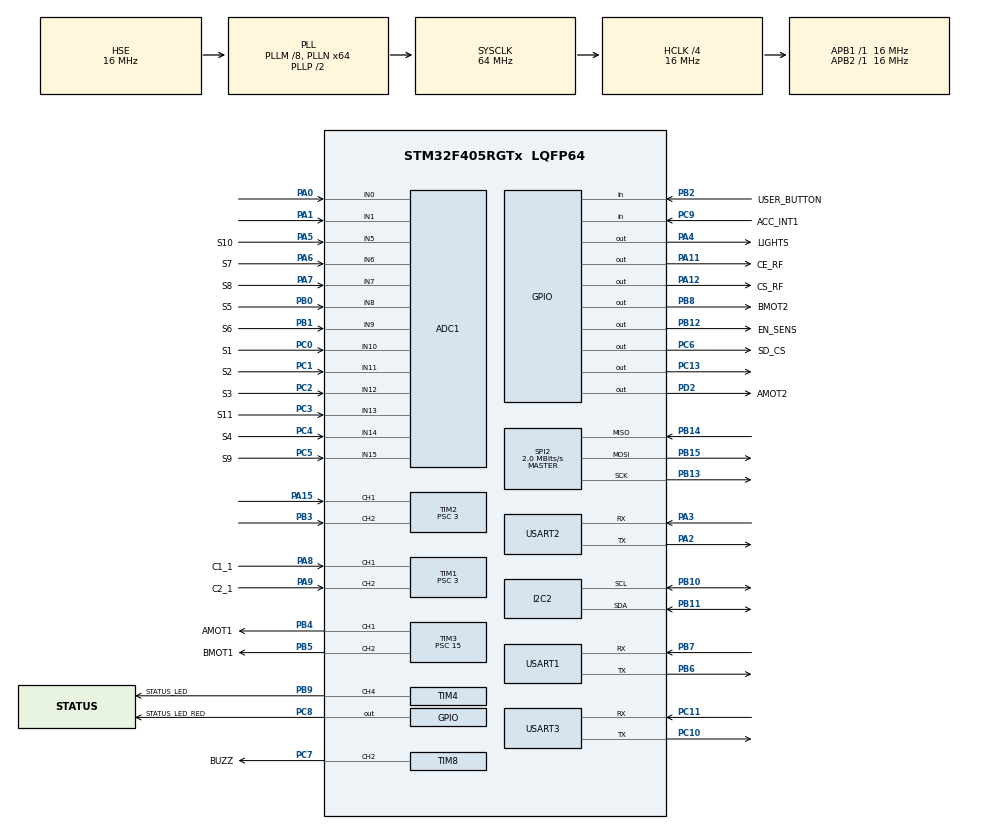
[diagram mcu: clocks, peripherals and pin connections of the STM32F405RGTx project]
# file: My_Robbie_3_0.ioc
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ADC1.Channel-1\#ChannelRegularConversion=ADC_CHANNEL_0
ADC1.Channel-18\#ChannelRegularConversion=ADC_CHANNEL_1
ADC1.Channel-19\#ChannelRegularConversion=ADC_CHANNEL_5
ADC1.Channel-20\#ChannelRegularConversion=ADC_CHANNEL_6
ADC1.Channel-21\#ChannelRegularConversion=ADC_CHANNEL_7
ADC1.Channel-22\#ChannelRegularConversion=ADC_CHANNEL_8
ADC1.Channel-23\#ChannelRegularConversion=ADC_CHANNEL_9
ADC1.Channel-24\#ChannelRegularConversion=ADC_CHANNEL_10
ADC1.Channel-25\#ChannelRegularConversion=ADC_CHANNEL_11
ADC1.Channel-26\#ChannelRegularConversion=ADC_CHANNEL_12
ADC1.Channel-27\#ChannelRegularConversion=ADC_CHANNEL_13
ADC1.Channel-28\#ChannelRegularConversion=ADC_CHANNEL_14
ADC1.Channel-29\#ChannelRegularConversion=ADC_CHANNEL_15
ADC1.ContinuousConvMode=ENABLE
ADC1.DMAContinuousRequests=DISABLE
ADC1.EnableAnalogWatchDog=false
ADC1.InjNumberOfConversion=0
ADC1.NbrOfConversion=13
ADC1.NbrOfConversionFlag=1
ADC1.Rank-1\#ChannelRegularConversion=1
ADC1.Rank-18\#ChannelRegularConversion=2
ADC1.Rank-19\#ChannelRegularConversion=3
ADC1.Rank-20\#ChannelRegularConversion=4
ADC1.Rank-21\#ChannelRegularConversion=5
ADC1.Rank-22\#ChannelRegularConversion=6
ADC1.Rank-23\#ChannelRegularConversion=7
ADC1.Rank-24\#ChannelRegularConversion=8
ADC1.Rank-25\#ChannelRegularConversion=9
ADC1.Rank-26\#ChannelRegularConversion=10
ADC1.Rank-27\#ChannelRegularConversion=11
ADC1.Rank-28\#ChannelRegularConversion=12
ADC1.Rank-29\#ChannelRegularConversion=13
ADC1.SamplingTime-1\#ChannelRegularConversion=ADC_SAMPLETIME_15CYCLES
ADC1.SamplingTime-18\#ChannelRegularConversion=ADC_SAMPLETIME_15CYCLES
ADC1.SamplingTime-19\#ChannelRegularConversion=ADC_SAMPLETIME_15CYCLES
ADC1.SamplingTime-20\#ChannelRegularConversion=ADC_SAMPLETIME_15CYCLES
ADC1.SamplingTime-21\#ChannelRegularConversion=ADC_SAMPLETIME_15CYCLES
ADC1.SamplingTime-22\#ChannelRegularConversion=ADC_SAMPLETIME_15CYCLES
ADC1.SamplingTime-23\#ChannelRegularConversion=ADC_SAMPLETIME_15CYCLES
ADC1.SamplingTime-24\#ChannelRegularConversion=ADC_SAMPLETIME_15CYCLES
ADC1.SamplingTime-25\#ChannelRegularConversion=ADC_SAMPLETIME_15CYCLES
ADC1.SamplingTime-26\#ChannelRegularConversion=ADC_SAMPLETIME_15CYCLES
ADC1.SamplingTime-27\#ChannelRegularConversion=ADC_SAMPLETIME_15CYCLES
ADC1.SamplingTime-28\#ChannelRegularConversion=ADC_SAMPLETIME_15CYCLES
ADC1.SamplingTime-29\#ChannelRegularConversion=ADC_SAMPLETIME_15CYCLES
ADC1.master=1
Dma.I2C2_RX.2.Direction=DMA_PERIPH_TO_MEMORY
Dma.I2C2_RX.2.FIFOMode=DMA_FIFOMODE_DISABLE
Dma.I2C2_RX.2.Instance=DMA1_Stream2
Dma.I2C2_RX.2.MemDataAlignment=DMA_MDATAALIGN_BYTE
Dma.I2C2_RX.2.MemInc=DMA_MINC_ENABLE
Dma.I2C2_RX.2.Mode=DMA_NORMAL
Dma.I2C2_RX.2.PeriphDataAlignment=DMA_PDATAALIGN_BYTE
Dma.I2C2_RX.2.PeriphInc=DMA_PINC_DISABLE
Dma.I2C2_RX.2.Priority=DMA_PRIORITY_LOW
Dma.Request0=USART3_RX
Dma.Request1=USART3_TX
Dma.Request2=I2C2_RX
Dma.USART3_RX.0.Direction=DMA_PERIPH_TO_MEMORY
Dma.USART3_RX.0.FIFOMode=DMA_FIFOMODE_DISABLE
Dma.USART3_RX.0.Instance=DMA1_Stream1
Dma.USART3_RX.0.MemDataAlignment=DMA_MDATAALIGN_BYTE
Dma.USART3_RX.0.MemInc=DMA_MINC_ENABLE
Dma.USART3_RX.0.Mode=DMA_CIRCULAR
Dma.USART3_RX.0.PeriphDataAlignment=DMA_PDATAALIGN_BYTE
Dma.USART3_RX.0.PeriphInc=DMA_PINC_DISABLE
Dma.USART3_RX.0.Priority=DMA_PRIORITY_LOW
Dma.USART3_TX.1.Direction=DMA_MEMORY_TO_PERIPH
Dma.USART3_TX.1.FIFOMode=DMA_FIFOMODE_DISABLE
Dma.USART3_TX.1.Instance=DMA1_Stream3
Dma.USART3_TX.1.MemDataAlignment=DMA_MDATAALIGN_BYTE
Dma.USART3_TX.1.MemInc=DMA_MINC_ENABLE
Dma.USART3_TX.1.Mode=DMA_NORMAL
Dma.USART3_TX.1.PeriphDataAlignment=DMA_PDATAALIGN_BYTE
Dma.USART3_TX.1.PeriphInc=DMA_PINC_DISABLE
Dma.USART3_TX.1.Priority=DMA_PRIORITY_LOW
I2C2.OwnAddress=8
Mcu.Family=STM32F4
Mcu.Name=STM32F405RGTx
Mcu.Package=LQFP64
NVIC.DMA1_Stream1_IRQn=true\:0\:0\:true\:false\:true\:false\:true\:true
NVIC.DMA1_Stream2_IRQn=true\:0\:0\:false\:false\:true\:false\:true\:true
NVIC.DMA1_Stream3_IRQn=true\:0\:0\:true\:false\:true\:false\:true\:true
NVIC.I2C2_ER_IRQn=true\:0\:1\:true\:false\:true\:true\:true\:true
NVIC.I2C2_EV_IRQn=true\:0\:1\:true\:false\:true\:true\:true\:true
NVIC.PriorityGroup=NVIC_PRIORITYGROUP_3
NVIC.TIM1_CC_IRQn=true\:0\:0\:false\:false\:true\:true\:true\:true
NVIC.TIM5_IRQn=true\:0\:0\:false\:false\:true\:true\:true\:true
NVIC.USART1_IRQn=true\:0\:0\:true\:false\:true\:true\:true\:true
NVIC.USART3_IRQn=true\:0\:0\:false\:false\:true\:true\:true\:true
PA0-WKUP.Signal=ADCx_IN0
PA1.Signal=ADCx_IN1
PA11.GPIO_Label=CE_RF
PA11.Signal=GPIO_Output
PA12.GPIO_Label=CS_RF
PA12.GPIO_ModeDefaultOutputPP=GPIO_MODE_OUTPUT_OD
PA12.Signal=GPIO_Output
PA13.Mode=Serial_Wire
PA13.Signal=SYS_JTMS-SWDIO
PA14.Mode=Serial_Wire
PA14.Signal=SYS_JTCK-SWCLK
PA15.Signal=S_TIM2_CH1_ETR
PA2.Mode=Asynchronous
PA2.Signal=USART2_TX
PA3.Mode=Asynchronous
PA3.Signal=USART2_RX
PA4.GPIO_Label=LIGHTS
PA4.Signal=GPIO_Output
PA5.GPIO_Label=S10
PA5.Signal=ADCx_IN5
PA6.GPIO_Label=S7
PA6.Signal=ADCx_IN6
PA7.GPIO_Label=S8
PA7.Signal=ADCx_IN7
PA8.GPIO_Label=C1_1
PA8.Signal=S_TIM1_CH1
PA9.GPIO_Label=C2_1
PA9.Signal=S_TIM1_CH2
PB0.GPIO_Label=S5
PB0.Signal=ADCx_IN8
PB1.GPIO_Label=S6
PB1.Signal=ADCx_IN9
PB10.GPIO_Pu=GPIO_NOPULL
PB10.Mode=I2C
PB10.Signal=I2C2_SCL
PB11.GPIO_Pu=GPIO_NOPULL
PB11.Mode=I2C
PB11.Signal=I2C2_SDA
PB12.GPIO_Label=EN_SENS
PB12.Signal=GPIO_Output
PB13.Mode=Full_Duplex_Master
PB13.Signal=SPI2_SCK
PB14.Mode=Full_Duplex_Master
PB14.Signal=SPI2_MISO
PB15.Mode=Full_Duplex_Master
PB15.Signal=SPI2_MOSI
PB2.GPIO_Label=USER_BUTTON
PB2.Signal=GPIO_Input
PB3.Signal=S_TIM2_CH2
PB4.GPIO_Label=AMOT1
PB4.Signal=S_TIM3_CH1
PB5.GPIO_Label=BMOT1
PB5.Signal=S_TIM3_CH2
PB6.Mode=Asynchronous
PB6.Signal=USART1_TX
PB7.Mode=Asynchronous
PB7.Signal=USART1_RX
PB8.GPIO_Label=BMOT2
PB8.Signal=GPIO_Output
PB9.GPIO_Label=STATUS_LED
PB9.Signal=S_TIM4_CH4
PC0.GPIO_Label=S1
PC0.Signal=ADCx_IN10
PC1.GPIO_Label=S2
PC1.Signal=ADCx_IN11
PC10.Mode=Asynchronous
PC10.Signal=USART3_TX
PC11.Mode=Asynchronous
PC11.Signal=USART3_RX
PC13-ANTI_TAMP.Signal=GPIO_Output
PC14-OSC32_IN.Mode=LSE-External-Oscillator
PC14-OSC32_IN.Signal=RCC_OSC32_IN
PC15-OSC32_OUT.Mode=LSE-External-Oscillator
PC15-OSC32_OUT.Signal=RCC_OSC32_OUT
PC2.GPIO_Label=S3
PC2.Signal=ADCx_IN12
PC3.GPIO_Label=S11
PC3.Signal=ADCx_IN13
PC4.GPIO_Label=S4
PC4.Signal=ADCx_IN14
PC5.GPIO_Label=S9
PC5.Signal=ADCx_IN15
PC6.GPIO_Label=SD_CS
PC6.Signal=GPIO_Output
PC7.GPIO_Label=BUZZ
PC7.Signal=S_TIM8_CH2
PC8.GPIO_Label=STATUS_LED_RED
PC8.GPIO_Speed=GPIO_SPEED_FREQ_VERY_HIGH
PC8.Signal=GPIO_Output
PC9.GPIO_Label=ACC_INT1
PC9.Signal=GPIO_Input
PD2.GPIO_Label=AMOT2
PD2.GPIO_PuPd=GPIO_NOPULL
PD2.Signal=GPIO_Output
PH0-OSC_IN.Mode=HSE-External-Oscillator
PH0-OSC_IN.Signal=RCC_OSC_IN
PH1-OSC_OUT.Mode=HSE-External-Oscillator
PH1-OSC_OUT.Signal=RCC_OSC_OUT
ProjectManager.HeapSize=0x200
ProjectManager.StackSize=0x400
ProjectManager.TargetToolchain=STM32CubeIDE
RCC.48MHZClocksFreq_Value=32000000
RCC.AHBCLKDivider=RCC_SYSCLK_DIV4
RCC.AHBFreq_Value=16000000
RCC.APB1Freq_Value=16000000
RCC.APB1TimFreq_Value=16000000
RCC.APB2Freq_Value=16000000
RCC.APB2TimFreq_Value=16000000
RCC.CortexFreq_Value=16000000
RCC.HCLKFreq_Value=16000000
RCC.HSE_VALUE=16000000
RCC.HSI_VALUE=16000000
RCC.PLLM=8
RCC.PLLN=64
RCC.PLLSourceVirtual=RCC_PLLSOURCE_HSE
RCC.SYSCLKFreq_VALUE=64000000
RCC.SYSCLKSource=RCC_SYSCLKSOURCE_PLLCLK
RCC.VCOOutputFreq_Value=128000000
SH.ADCx_IN0.0=ADC1_IN0,IN0
SH.ADCx_IN1.0=ADC1_IN1,IN1
SH.ADCx_IN10.0=ADC1_IN10,IN10
SH.ADCx_IN11.0=ADC1_IN11,IN11
SH.ADCx_IN12.0=ADC1_IN12,IN12
SH.ADCx_IN13.0=ADC1_IN13,IN13
SH.ADCx_IN14.0=ADC1_IN14,IN14
SH.ADCx_IN15.0=ADC1_IN15,IN15
SH.ADCx_IN5.0=ADC1_IN5,IN5
SH.ADCx_IN6.0=ADC1_IN6,IN6
SH.ADCx_IN7.0=ADC1_IN7,IN7
SH.ADCx_IN8.0=ADC1_IN8,IN8
SH.ADCx_IN9.0=ADC1_IN9,IN9
SH.S_TIM1_CH1.0=TIM1_CH1,Encoder_Interface
SH.S_TIM1_CH2.0=TIM1_CH2,Encoder_Interface
SH.S_TIM2_CH1_ETR.0=TIM2_CH1,Encoder_Interface
SH.S_TIM2_CH2.0=TIM2_CH2,Encoder_Interface
SH.S_TIM3_CH1.0=TIM3_CH1,PWM Generation1 CH1
SH.S_TIM3_CH2.0=TIM3_CH2,PWM Generation2 CH2
SH.S_TIM4_CH4.0=TIM4_CH4,PWM Generation4 CH4
SH.S_TIM8_CH2.0=TIM8_CH2,PWM Generation2 CH2
SPI2.BaudRatePrescaler=SPI_BAUDRATEPRESCALER_8
SPI2.CalculateBaudRate=2.0 MBits/s
SPI2.Direction=SPI_DIRECTION_2LINES
SPI2.Mode=SPI_MODE_MASTER
SPI2.VirtualType=VM_MASTER
TIM1.EncoderMode=TIM_ENCODERMODE_TI12
TIM1.Prescaler=3
TIM2.EncoderMode=TIM_ENCODERMODE_TI12
TIM2.Period=65535
TIM2.Prescaler=3
TIM3.Channel-PWM\ Generation1\ CH1=TIM_CHANNEL_1
TIM3.Channel-PWM\ Generation2\ CH2=TIM_CHANNEL_2
TIM3.Period=999
TIM3.Prescaler=15
TIM4.Channel-PWM\ Generation4\ CH4=TIM_CHANNEL_4
TIM5.Period=999
TIM5.Prescaler=1599
TIM8.Channel-PWM\ Generation2\ CH2=TIM_CHANNEL_2
TIM8.Period=5333
USART1.VirtualMode=VM_ASYNC
USART2.VirtualMode=VM_ASYNC
USART3.VirtualMode=VM_ASYNC
VP_FATFS_VS_Generic.Mode=User_defined
VP_RTC_VS_RTC_Activate.Mode=RTC_Enabled
VP_TIM3_VS_ClockSourceINT.Mode=Internal
VP_TIM5_VS_ClockSourceINT.Mode=Internal
board=custom

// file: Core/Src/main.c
/* USER CODE BEGIN Header */
/**
  ******************************************************************************
  * @file           : main.c
  * @brief          : Main program body
  ******************************************************************************
  * @attention
  *
  * Copyright (c) 2023 STMicroelectronics.
  * All rights reserved.
  *
  * This software is licensed under terms that can be found in the LICENSE file
  * in the root directory of this software component.
  * If no LICENSE file comes with this software, it is provided AS-IS.
  *
  ******************************************************************************
  */
/* USER CODE END Header */
#include "main.h"
#include "fatfs.h"

/* USER CODE BEGIN PD */
#define PROMT "\r\n"
/* USER CODE END PD */

ADC_HandleTypeDef hadc1;

I2C_HandleTypeDef hi2c2;
DMA_HandleTypeDef hdma_i2c2_rx;

RTC_HandleTypeDef hrtc;

SPI_HandleTypeDef hspi2;

TIM_HandleTypeDef htim1;
TIM_HandleTypeDef htim2;
TIM_HandleTypeDef htim3;
TIM_HandleTypeDef htim4;
TIM_HandleTypeDef htim5;
TIM_HandleTypeDef htim8;

UART_HandleTypeDef huart1;
UART_HandleTypeDef huart2;
UART_HandleTypeDef huart3;
DMA_HandleTypeDef hdma_usart3_rx;
DMA_HandleTypeDef hdma_usart3_tx;

/* USER CODE BEGIN PV */

// buffer para la obtencion de datos por UART
char MSG_Rx[30];
char MSG_Tx[200];

char MSG_Rx_1[30];
char MSG_Tx_1[32];

char received_message_uart[30];

uint8_t received_caracter_uart;
uint8_t flag_uart = 0;
uint8_t counter_caracter = 0;

// variable principal para la velocidad objetivo de las ruedas
float setP_1 = 0.000;
float setP_2 = 0.000;

// variable para la intrpretacion de la velocidad de las ruedas
char letra_1;
int numero_1;
char letra_2;
int numero_2;
char letra_3;
int numero_3;

char P_letra_1 =' ';
float P_numero_1;
char P_letra_2 =' ';
float P_numero_2;

// variable de prueba de velocidad (no relevante)
uint8_t step = 0;

/* USER CODE END PV */

void SystemClock_Config(void);
static void MX_GPIO_Init(void);
static void MX_DMA_Init(void);
static void MX_RTC_Init(void);
static void MX_USART2_UART_Init(void);
static void MX_ADC1_Init(void);
static void MX_TIM1_Init(void);
static void MX_TIM2_Init(void);
static void MX_USART1_UART_Init(void);
static void MX_USART3_UART_Init(void);
static void MX_SPI2_Init(void);
static void MX_TIM3_Init(void);
static void MX_I2C2_Init(void);
static void MX_TIM8_Init(void);
static void MX_TIM4_Init(void);
static void MX_TIM5_Init(void);

int main(void)
{

  /* MCU Configuration--------------------------------------------------------*/

  /* Reset of all peripherals, Initializes the Flash interface and the Systick. */
  HAL_Init();

  /* Configure the system clock */
  SystemClock_Config();

  /* Initialize all configured peripherals */
  MX_GPIO_Init();
  MX_DMA_Init();
  MX_RTC_Init();
  MX_USART2_UART_Init();
  MX_ADC1_Init();
  MX_TIM1_Init();
  MX_TIM2_Init();
  MX_USART1_UART_Init();
  MX_USART3_UART_Init();
  MX_SPI2_Init();
  MX_TIM3_Init();
  MX_FATFS_Init();
  MX_I2C2_Init();
  MX_TIM8_Init();
  MX_TIM4_Init();
  MX_TIM5_Init();

  /* Infinite loop */
  /* USER CODE BEGIN WHILE */

  //tiempo para que la rueda no swicheada a tierra pare
  HAL_Delay(6000);

//  HAL_GPIO_WritePin(STATUS_LED_RED_GPIO_Port, STATUS_LED_RED_Pin, GPIO_PIN_SET);

  // motor de izquierda
  HAL_GPIO_WritePin(AMOT2_GPIO_Port, AMOT2_Pin, GPIO_PIN_RESET);
  // motor de derecha
  HAL_GPIO_WritePin(BMOT2_GPIO_Port, BMOT2_Pin, GPIO_PIN_RESET);

  HAL_TIM_PWM_Start(&htim3,TIM_CHANNEL_1);
  HAL_TIM_PWM_Start(&htim3,TIM_CHANNEL_2);

  // encoders
  HAL_TIM_Encoder_Start(&htim1, TIM_CHANNEL_ALL);
  HAL_TIM_Encoder_Start(&htim2, TIM_CHANNEL_ALL);

  cnt1_1 = __HAL_TIM_GET_COUNTER(&htim1);
  cnt2_1 = __HAL_TIM_GET_COUNTER(&htim2);

  // tiempo base de 10 Hz
  HAL_TIM_Base_Start_IT(&htim5);

  // comunicacion por UART
//  printWelcomeMessage(&huart3);
  HAL_UART_Receive_DMA(&huart3, (uint8_t*)&MSG_Rx,14);

  HAL_UART_Receive_IT(&huart1,&received_caracter_uart, 1);

  // comunicacion por i2c
  HAL_I2C_Slave_Receive_DMA(&hi2c2,&received_length_i2c, 1);

  memset(MSG_Tx_1, 0, sizeof(MSG_Tx_1));
  while (1)
  {

    /* USER CODE END WHILE */

  }
}

void SystemClock_Config(void)
{
  RCC_OscInitTypeDef RCC_OscInitStruct = {0};
  RCC_ClkInitTypeDef RCC_ClkInitStruct = {0};

  /** Configure the main internal regulator output voltage
  */
  __HAL_RCC_PWR_CLK_ENABLE();
  __HAL_PWR_VOLTAGESCALING_CONFIG(PWR_REGULATOR_VOLTAGE_SCALE1);

  /** Initializes the RCC Oscillators according to the specified parameters
  * in the RCC_OscInitTypeDef structure.
  */
  RCC_OscInitStruct.OscillatorType = RCC_OSCILLATORTYPE_LSI|RCC_OSCILLATORTYPE_HSE;
  RCC_OscInitStruct.HSEState = RCC_HSE_ON;
  RCC_OscInitStruct.LSIState = RCC_LSI_ON;
  RCC_OscInitStruct.PLL.PLLState = RCC_PLL_ON;
  RCC_OscInitStruct.PLL.PLLSource = RCC_PLLSOURCE_HSE;
  RCC_OscInitStruct.PLL.PLLM = 8;
  RCC_OscInitStruct.PLL.PLLN = 64;
  RCC_OscInitStruct.PLL.PLLP = RCC_PLLP_DIV2;
  RCC_OscInitStruct.PLL.PLLQ = 4;
  if (HAL_RCC_OscConfig(&RCC_OscInitStruct) != HAL_OK)
  {
    Error_Handler();
  }

  /** Initializes the CPU, AHB and APB buses clocks
  */
  RCC_ClkInitStruct.ClockType = RCC_CLOCKTYPE_HCLK|RCC_CLOCKTYPE_SYSCLK
                              |RCC_CLOCKTYPE_PCLK1|RCC_CLOCKTYPE_PCLK2;
  RCC_ClkInitStruct.SYSCLKSource = RCC_SYSCLKSOURCE_PLLCLK;
  RCC_ClkInitStruct.AHBCLKDivider = RCC_SYSCLK_DIV4;
  RCC_ClkInitStruct.APB1CLKDivider = RCC_HCLK_DIV1;
  RCC_ClkInitStruct.APB2CLKDivider = RCC_HCLK_DIV1;

  if (HAL_RCC_ClockConfig(&RCC_ClkInitStruct, FLASH_LATENCY_0) != HAL_OK)
  {
    Error_Handler();
  }
}

static void MX_ADC1_Init(void)
{

  ADC_ChannelConfTypeDef sConfig = {0};

  /** Configure the global features of the ADC (Clock, Resolution, Data Alignment and number of conversion)
  */
  hadc1.Instance = ADC1;
  hadc1.Init.ClockPrescaler = ADC_CLOCK_SYNC_PCLK_DIV2;
  hadc1.Init.Resolution = ADC_RESOLUTION_12B;
  hadc1.Init.ScanConvMode = ENABLE;
  hadc1.Init.ContinuousConvMode = ENABLE;
  hadc1.Init.DiscontinuousConvMode = DISABLE;
  hadc1.Init.ExternalTrigConvEdge = ADC_EXTERNALTRIGCONVEDGE_NONE;
  hadc1.Init.ExternalTrigConv = ADC_SOFTWARE_START;
  hadc1.Init.DataAlign = ADC_DATAALIGN_RIGHT;
  hadc1.Init.NbrOfConversion = 13;
  hadc1.Init.DMAContinuousRequests = DISABLE;
  hadc1.Init.EOCSelection = ADC_EOC_SINGLE_CONV;
  if (HAL_ADC_Init(&hadc1) != HAL_OK)
  {
    Error_Handler();
  }

  /** Configure for the selected ADC regular channel its corresponding rank in the sequencer and its sample time.
  */
  sConfig.Channel = ADC_CHANNEL_0;
  sConfig.Rank = 1;
  sConfig.SamplingTime = ADC_SAMPLETIME_15CYCLES;
  if (HAL_ADC_ConfigChannel(&hadc1, &sConfig) != HAL_OK)
  {
    Error_Handler();
  }

  /** Configure for the selected ADC regular channel its corresponding rank in the sequencer and its sample time.
  */
  sConfig.Channel = ADC_CHANNEL_1;
  sConfig.Rank = 2;
  if (HAL_ADC_ConfigChannel(&hadc1, &sConfig) != HAL_OK)
  {
    Error_Handler();
  }

  /** Configure for the selected ADC regular channel its corresponding rank in the sequencer and its sample time.
  */
  sConfig.Channel = ADC_CHANNEL_5;
  sConfig.Rank = 3;
  if (HAL_ADC_ConfigChannel(&hadc1, &sConfig) != HAL_OK)
  {
    Error_Handler();
  }

  /** Configure for the selected ADC regular channel its corresponding rank in the sequencer and its sample time.
  */
  sConfig.Channel = ADC_CHANNEL_6;
  sConfig.Rank = 4;
  if (HAL_ADC_ConfigChannel(&hadc1, &sConfig) != HAL_OK)
  {
    Error_Handler();
  }

  /** Configure for the selected ADC regular channel its corresponding rank in the sequencer and its sample time.
  */
  sConfig.Channel = ADC_CHANNEL_7;
  sConfig.Rank = 5;
  if (HAL_ADC_ConfigChannel(&hadc1, &sConfig) != HAL_OK)
  {
    Error_Handler();
  }

  /** Configure for the selected ADC regular channel its corresponding rank in the sequencer and its sample time.
  */
  sConfig.Channel = ADC_CHANNEL_8;
  sConfig.Rank = 6;
  if (HAL_ADC_ConfigChannel(&hadc1, &sConfig) != HAL_OK)
  {
    Error_Handler();
  }

  /** Configure for the selected ADC regular channel its corresponding rank in the sequencer and its sample time.
  */
  sConfig.Channel = ADC_CHANNEL_9;
  sConfig.Rank = 7;
  if (HAL_ADC_ConfigChannel(&hadc1, &sConfig) != HAL_OK)
  {
    Error_Handler();
  }

  /** Configure for the selected ADC regular channel its corresponding rank in the sequencer and its sample time.
  */
  sConfig.Channel = ADC_CHANNEL_10;
  sConfig.Rank = 8;
  if (HAL_ADC_ConfigChannel(&hadc1, &sConfig) != HAL_OK)
  {
    Error_Handler();
  }

  /** Configure for the selected ADC regular channel its corresponding rank in the sequencer and its sample time.
  */
  sConfig.Channel = ADC_CHANNEL_11;
  sConfig.Rank = 9;
  if (HAL_ADC_ConfigChannel(&hadc1, &sConfig) != HAL_OK)
  {
    Error_Handler();
  }

  /** Configure for the selected ADC regular channel its corresponding rank in the sequencer and its sample time.
  */
  sConfig.Channel = ADC_CHANNEL_12;
  sConfig.Rank = 10;
  if (HAL_ADC_ConfigChannel(&hadc1, &sConfig) != HAL_OK)
  {
    Error_Handler();
  }

  /** Configure for the selected ADC regular channel its corresponding rank in the sequencer and its sample time.
  */
  sConfig.Channel = ADC_CHANNEL_13;
  sConfig.Rank = 11;
  if (HAL_ADC_ConfigChannel(&hadc1, &sConfig) != HAL_OK)
  {
    Error_Handler();
  }

  /** Configure for the selected ADC regular channel its corresponding rank in the sequencer and its sample time.
  */
  sConfig.Channel = ADC_CHANNEL_14;
  sConfig.Rank = 12;
  if (HAL_ADC_ConfigChannel(&hadc1, &sConfig) != HAL_OK)
  {
    Error_Handler();
  }

  /** Configure for the selected ADC regular channel its corresponding rank in the sequencer and its sample time.
  */
  sConfig.Channel = ADC_CHANNEL_15;
  sConfig.Rank = 13;
  if (HAL_ADC_ConfigChannel(&hadc1, &sConfig) != HAL_OK)
  {
    Error_Handler();
  }

}

static void MX_I2C2_Init(void)
{

  hi2c2.Instance = I2C2;
  hi2c2.Init.ClockSpeed = 100000;
  hi2c2.Init.DutyCycle = I2C_DUTYCYCLE_2;
  hi2c2.Init.OwnAddress1 = 16;
  hi2c2.Init.AddressingMode = I2C_ADDRESSINGMODE_7BIT;
  hi2c2.Init.DualAddressMode = I2C_DUALADDRESS_DISABLE;
  hi2c2.Init.OwnAddress2 = 0;
  hi2c2.Init.GeneralCallMode = I2C_GENERALCALL_DISABLE;
  hi2c2.Init.NoStretchMode = I2C_NOSTRETCH_DISABLE;
  if (HAL_I2C_Init(&hi2c2) != HAL_OK)
  {
    Error_Handler();
  }

}

static void MX_RTC_Init(void)
{

  /** Initialize RTC Only
  */
  hrtc.Instance = RTC;
  hrtc.Init.HourFormat = RTC_HOURFORMAT_24;
  hrtc.Init.AsynchPrediv = 127;
  hrtc.Init.SynchPrediv = 255;
  hrtc.Init.OutPut = RTC_OUTPUT_DISABLE;
  hrtc.Init.OutPutPolarity = RTC_OUTPUT_POLARITY_HIGH;
  hrtc.Init.OutPutType = RTC_OUTPUT_TYPE_OPENDRAIN;
  if (HAL_RTC_Init(&hrtc) != HAL_OK)
  {
    Error_Handler();
  }

}

static void MX_SPI2_Init(void)
{

  /* SPI2 parameter configuration*/
  hspi2.Instance = SPI2;
  hspi2.Init.Mode = SPI_MODE_MASTER;
  hspi2.Init.Direction = SPI_DIRECTION_2LINES;
  hspi2.Init.DataSize = SPI_DATASIZE_8BIT;
  hspi2.Init.CLKPolarity = SPI_POLARITY_LOW;
  hspi2.Init.CLKPhase = SPI_PHASE_1EDGE;
  hspi2.Init.NSS = SPI_NSS_SOFT;
  hspi2.Init.BaudRatePrescaler = SPI_BAUDRATEPRESCALER_8;
  hspi2.Init.FirstBit = SPI_FIRSTBIT_MSB;
  hspi2.Init.TIMode = SPI_TIMODE_DISABLE;
  hspi2.Init.CRCCalculation = SPI_CRCCALCULATION_DISABLE;
  hspi2.Init.CRCPolynomial = 10;
  if (HAL_SPI_Init(&hspi2) != HAL_OK)
  {
    Error_Handler();
  }

}

static void MX_TIM1_Init(void)
{

  TIM_Encoder_InitTypeDef sConfig = {0};
  TIM_MasterConfigTypeDef sMasterConfig = {0};

  htim1.Instance = TIM1;
  htim1.Init.Prescaler = 3;
  htim1.Init.CounterMode = TIM_COUNTERMODE_UP;
  htim1.Init.Period = 65535;
  htim1.Init.ClockDivision = TIM_CLOCKDIVISION_DIV1;
  htim1.Init.RepetitionCounter = 0;
  htim1.Init.AutoReloadPreload = TIM_AUTORELOAD_PRELOAD_DISABLE;
  sConfig.EncoderMode = TIM_ENCODERMODE_TI12;
  sConfig.IC1Polarity = TIM_ICPOLARITY_RISING;
  sConfig.IC1Selection = TIM_ICSELECTION_DIRECTTI;
  sConfig.IC1Prescaler = TIM_ICPSC_DIV1;
  sConfig.IC1Filter = 0;
  sConfig.IC2Polarity = TIM_ICPOLARITY_RISING;
  sConfig.IC2Selection = TIM_ICSELECTION_DIRECTTI;
  sConfig.IC2Prescaler = TIM_ICPSC_DIV1;
  sConfig.IC2Filter = 0;
  if (HAL_TIM_Encoder_Init(&htim1, &sConfig) != HAL_OK)
  {
    Error_Handler();
  }
  sMasterConfig.MasterOutputTrigger = TIM_TRGO_RESET;
  sMasterConfig.MasterSlaveMode = TIM_MASTERSLAVEMODE_DISABLE;
  if (HAL_TIMEx_MasterConfigSynchronization(&htim1, &sMasterConfig) != HAL_OK)
  {
    Error_Handler();
  }

}

static void MX_TIM2_Init(void)
{

  TIM_Encoder_InitTypeDef sConfig = {0};
  TIM_MasterConfigTypeDef sMasterConfig = {0};

  htim2.Instance = TIM2;
  htim2.Init.Prescaler = 3;
  htim2.Init.CounterMode = TIM_COUNTERMODE_UP;
  htim2.Init.Period = 65535;
  htim2.Init.ClockDivision = TIM_CLOCKDIVISION_DIV1;
  htim2.Init.AutoReloadPreload = TIM_AUTORELOAD_PRELOAD_DISABLE;
  sConfig.EncoderMode = TIM_ENCODERMODE_TI12;
  sConfig.IC1Polarity = TIM_ICPOLARITY_RISING;
  sConfig.IC1Selection = TIM_ICSELECTION_DIRECTTI;
  sConfig.IC1Prescaler = TIM_ICPSC_DIV1;
  sConfig.IC1Filter = 0;
  sConfig.IC2Polarity = TIM_ICPOLARITY_RISING;
  sConfig.IC2Selection = TIM_ICSELECTION_DIRECTTI;
  sConfig.IC2Prescaler = TIM_ICPSC_DIV1;
  sConfig.IC2Filter = 0;
  if (HAL_TIM_Encoder_Init(&htim2, &sConfig) != HAL_OK)
  {
    Error_Handler();
  }
  sMasterConfig.MasterOutputTrigger = TIM_TRGO_RESET;
  sMasterConfig.MasterSlaveMode = TIM_MASTERSLAVEMODE_DISABLE;
  if (HAL_TIMEx_MasterConfigSynchronization(&htim2, &sMasterConfig) != HAL_OK)
  {
    Error_Handler();
  }

}

static void MX_TIM3_Init(void)
{

  TIM_ClockConfigTypeDef sClockSourceConfig = {0};
  TIM_MasterConfigTypeDef sMasterConfig = {0};
  TIM_OC_InitTypeDef sConfigOC = {0};

  htim3.Instance = TIM3;
  htim3.Init.Prescaler = 15;
  htim3.Init.CounterMode = TIM_COUNTERMODE_UP;
  htim3.Init.Period = 999;
  htim3.Init.ClockDivision = TIM_CLOCKDIVISION_DIV1;
  htim3.Init.AutoReloadPreload = TIM_AUTORELOAD_PRELOAD_DISABLE;
  if (HAL_TIM_Base_Init(&htim3) != HAL_OK)
  {
    Error_Handler();
  }
  sClockSourceConfig.ClockSource = TIM_CLOCKSOURCE_INTERNAL;
  if (HAL_TIM_ConfigClockSource(&htim3, &sClockSourceConfig) != HAL_OK)
  {
    Error_Handler();
  }
  if (HAL_TIM_PWM_Init(&htim3) != HAL_OK)
  {
    Error_Handler();
  }
  sMasterConfig.MasterOutputTrigger = TIM_TRGO_RESET;
  sMasterConfig.MasterSlaveMode = TIM_MASTERSLAVEMODE_DISABLE;
  if (HAL_TIMEx_MasterConfigSynchronization(&htim3, &sMasterConfig) != HAL_OK)
  {
    Error_Handler();
  }
  sConfigOC.OCMode = TIM_OCMODE_PWM1;
  sConfigOC.Pulse = 0;
  sConfigOC.OCPolarity = TIM_OCPOLARITY_HIGH;
  sConfigOC.OCFastMode = TIM_OCFAST_DISABLE;
  if (HAL_TIM_PWM_ConfigChannel(&htim3, &sConfigOC, TIM_CHANNEL_1) != HAL_OK)
  {
    Error_Handler();
  }
  if (HAL_TIM_PWM_ConfigChannel(&htim3, &sConfigOC, TIM_CHANNEL_2) != HAL_OK)
  {
    Error_Handler();
  }
  HAL_TIM_MspPostInit(&htim3);

}

static void MX_TIM4_Init(void)
{

  TIM_MasterConfigTypeDef sMasterConfig = {0};
  TIM_OC_InitTypeDef sConfigOC = {0};

  htim4.Instance = TIM4;
  htim4.Init.Prescaler = 0;
  htim4.Init.CounterMode = TIM_COUNTERMODE_UP;
  htim4.Init.Period = 65535;
  htim4.Init.ClockDivision = TIM_CLOCKDIVISION_DIV1;
  htim4.Init.AutoReloadPreload = TIM_AUTORELOAD_PRELOAD_DISABLE;
  if (HAL_TIM_PWM_Init(&htim4) != HAL_OK)
  {
    Error_Handler();
  }
  sMasterConfig.MasterOutputTrigger = TIM_TRGO_RESET;
  sMasterConfig.MasterSlaveMode = TIM_MASTERSLAVEMODE_DISABLE;
  if (HAL_TIMEx_MasterConfigSynchronization(&htim4, &sMasterConfig) != HAL_OK)
  {
    Error_Handler();
  }
  sConfigOC.OCMode = TIM_OCMODE_PWM1;
  sConfigOC.Pulse = 0;
  sConfigOC.OCPolarity = TIM_OCPOLARITY_HIGH;
  sConfigOC.OCFastMode = TIM_OCFAST_DISABLE;
  if (HAL_TIM_PWM_ConfigChannel(&htim4, &sConfigOC, TIM_CHANNEL_4) != HAL_OK)
  {
    Error_Handler();
  }
  HAL_TIM_MspPostInit(&htim4);

}

static void MX_TIM5_Init(void)
{

  TIM_ClockConfigTypeDef sClockSourceConfig = {0};
  TIM_MasterConfigTypeDef sMasterConfig = {0};

  htim5.Instance = TIM5;
  htim5.Init.Prescaler = 1599;
  htim5.Init.CounterMode = TIM_COUNTERMODE_UP;
  htim5.Init.Period = 999;
  htim5.Init.ClockDivision = TIM_CLOCKDIVISION_DIV1;
  htim5.Init.AutoReloadPreload = TIM_AUTORELOAD_PRELOAD_DISABLE;
  if (HAL_TIM_Base_Init(&htim5) != HAL_OK)
  {
    Error_Handler();
  }
  sClockSourceConfig.ClockSource = TIM_CLOCKSOURCE_INTERNAL;
  if (HAL_TIM_ConfigClockSource(&htim5, &sClockSourceConfig) != HAL_OK)
  {
    Error_Handler();
  }
  sMasterConfig.MasterOutputTrigger = TIM_TRGO_RESET;
  sMasterConfig.MasterSlaveMode = TIM_MASTERSLAVEMODE_DISABLE;
  if (HAL_TIMEx_MasterConfigSynchronization(&htim5, &sMasterConfig) != HAL_OK)
  {
    Error_Handler();
  }

}

static void MX_TIM8_Init(void)
{

  TIM_MasterConfigTypeDef sMasterConfig = {0};
  TIM_OC_InitTypeDef sConfigOC = {0};
  TIM_BreakDeadTimeConfigTypeDef sBreakDeadTimeConfig = {0};

  htim8.Instance = TIM8;
  htim8.Init.Prescaler = 0;
  htim8.Init.CounterMode = TIM_COUNTERMODE_UP;
  htim8.Init.Period = 5333;
  htim8.Init.ClockDivision = TIM_CLOCKDIVISION_DIV1;
  htim8.Init.RepetitionCounter = 0;
  htim8.Init.AutoReloadPreload = TIM_AUTORELOAD_PRELOAD_DISABLE;
  if (HAL_TIM_PWM_Init(&htim8) != HAL_OK)
  {
    Error_Handler();
  }
  sMasterConfig.MasterOutputTrigger = TIM_TRGO_RESET;
  sMasterConfig.MasterSlaveMode = TIM_MASTERSLAVEMODE_DISABLE;
  if (HAL_TIMEx_MasterConfigSynchronization(&htim8, &sMasterConfig) != HAL_OK)
  {
    Error_Handler();
  }
  sConfigOC.OCMode = TIM_OCMODE_PWM1;
  sConfigOC.Pulse = 0;
  sConfigOC.OCPolarity = TIM_OCPOLARITY_HIGH;
  sConfigOC.OCNPolarity = TIM_OCNPOLARITY_HIGH;
  sConfigOC.OCFastMode = TIM_OCFAST_DISABLE;
  sConfigOC.OCIdleState = TIM_OCIDLESTATE_RESET;
  sConfigOC.OCNIdleState = TIM_OCNIDLESTATE_RESET;
  if (HAL_TIM_PWM_ConfigChannel(&htim8, &sConfigOC, TIM_CHANNEL_2) != HAL_OK)
  {
    Error_Handler();
  }
  sBreakDeadTimeConfig.OffStateRunMode = TIM_OSSR_DISABLE;
  sBreakDeadTimeConfig.OffStateIDLEMode = TIM_OSSI_DISABLE;
  sBreakDeadTimeConfig.LockLevel = TIM_LOCKLEVEL_OFF;
  sBreakDeadTimeConfig.DeadTime = 0;
  sBreakDeadTimeConfig.BreakState = TIM_BREAK_DISABLE;
  sBreakDeadTimeConfig.BreakPolarity = TIM_BREAKPOLARITY_HIGH;
  sBreakDeadTimeConfig.AutomaticOutput = TIM_AUTOMATICOUTPUT_DISABLE;
  if (HAL_TIMEx_ConfigBreakDeadTime(&htim8, &sBreakDeadTimeConfig) != HAL_OK)
  {
    Error_Handler();
  }
  HAL_TIM_MspPostInit(&htim8);

}

static void MX_USART1_UART_Init(void)
{

  huart1.Instance = USART1;
  huart1.Init.BaudRate = 115200;
  huart1.Init.WordLength = UART_WORDLENGTH_8B;
  huart1.Init.StopBits = UART_STOPBITS_1;
  huart1.Init.Parity = UART_PARITY_NONE;
  huart1.Init.Mode = UART_MODE_TX_RX;
  huart1.Init.HwFlowCtl = UART_HWCONTROL_NONE;
  huart1.Init.OverSampling = UART_OVERSAMPLING_16;
  if (HAL_UART_Init(&huart1) != HAL_OK)
  {
    Error_Handler();
  }

}

static void MX_USART2_UART_Init(void)
{

  huart2.Instance = USART2;
  huart2.Init.BaudRate = 115200;
  huart2.Init.WordLength = UART_WORDLENGTH_8B;
  huart2.Init.StopBits = UART_STOPBITS_1;
  huart2.Init.Parity = UART_PARITY_NONE;
  huart2.Init.Mode = UART_MODE_TX_RX;
  huart2.Init.HwFlowCtl = UART_HWCONTROL_NONE;
  huart2.Init.OverSampling = UART_OVERSAMPLING_16;
  if (HAL_UART_Init(&huart2) != HAL_OK)
  {
    Error_Handler();
  }

}

static void MX_USART3_UART_Init(void)
{

  huart3.Instance = USART3;
  huart3.Init.BaudRate = 115200;
  huart3.Init.WordLength = UART_WORDLENGTH_8B;
  huart3.Init.StopBits = UART_STOPBITS_1;
  huart3.Init.Parity = UART_PARITY_NONE;
  huart3.Init.Mode = UART_MODE_TX_RX;
  huart3.Init.HwFlowCtl = UART_HWCONTROL_NONE;
  huart3.Init.OverSampling = UART_OVERSAMPLING_16;
  if (HAL_UART_Init(&huart3) != HAL_OK)
  {
    Error_Handler();
  }

}

static void MX_DMA_Init(void)
{

  /* DMA controller clock enable */
  __HAL_RCC_DMA1_CLK_ENABLE();

  /* DMA interrupt init */
  /* DMA1_Stream1_IRQn interrupt configuration */
  HAL_NVIC_SetPriority(DMA1_Stream1_IRQn, 0, 0);
  HAL_NVIC_EnableIRQ(DMA1_Stream1_IRQn);
  /* DMA1_Stream2_IRQn interrupt configuration */
  HAL_NVIC_SetPriority(DMA1_Stream2_IRQn, 0, 0);
  HAL_NVIC_EnableIRQ(DMA1_Stream2_IRQn);
  /* DMA1_Stream3_IRQn interrupt configuration */
  HAL_NVIC_SetPriority(DMA1_Stream3_IRQn, 0, 0);
  HAL_NVIC_EnableIRQ(DMA1_Stream3_IRQn);

}

static void MX_GPIO_Init(void)
{
  GPIO_InitTypeDef GPIO_InitStruct = {0};

  /* GPIO Ports Clock Enable */
  __HAL_RCC_GPIOC_CLK_ENABLE();
  __HAL_RCC_GPIOH_CLK_ENABLE();
  __HAL_RCC_GPIOA_CLK_ENABLE();
  __HAL_RCC_GPIOB_CLK_ENABLE();
  __HAL_RCC_GPIOD_CLK_ENABLE();

  /*Configure GPIO pin Output Level */
  HAL_GPIO_WritePin(GPIOC, GPIO_PIN_13|SD_CS_Pin|STATUS_LED_RED_Pin, GPIO_PIN_RESET);

  /*Configure GPIO pin Output Level */
  HAL_GPIO_WritePin(GPIOA, LIGHTS_Pin|CE_RF_Pin|CS_RF_Pin, GPIO_PIN_RESET);

  /*Configure GPIO pin Output Level */
  HAL_GPIO_WritePin(GPIOB, EN_SENS_Pin|BMOT2_Pin, GPIO_PIN_RESET);

  /*Configure GPIO pin Output Level */
  HAL_GPIO_WritePin(AMOT2_GPIO_Port, AMOT2_Pin, GPIO_PIN_RESET);

  /*Configure GPIO pins : PC13 SD_CS_Pin */
  GPIO_InitStruct.Pin = GPIO_PIN_13|SD_CS_Pin;
  GPIO_InitStruct.Mode = GPIO_MODE_OUTPUT_PP;
  GPIO_InitStruct.Pull = GPIO_NOPULL;
  GPIO_InitStruct.Speed = GPIO_SPEED_FREQ_LOW;
  HAL_GPIO_Init(GPIOC, &GPIO_InitStruct);

  /*Configure GPIO pins : LIGHTS_Pin CE_RF_Pin */
  GPIO_InitStruct.Pin = LIGHTS_Pin|CE_RF_Pin;
  GPIO_InitStruct.Mode = GPIO_MODE_OUTPUT_PP;
  GPIO_InitStruct.Pull = GPIO_NOPULL;
  GPIO_InitStruct.Speed = GPIO_SPEED_FREQ_LOW;
  HAL_GPIO_Init(GPIOA, &GPIO_InitStruct);

  /*Configure GPIO pin : USER_BUTTON_Pin */
  GPIO_InitStruct.Pin = USER_BUTTON_Pin;
  GPIO_InitStruct.Mode = GPIO_MODE_INPUT;
  GPIO_InitStruct.Pull = GPIO_NOPULL;
  HAL_GPIO_Init(USER_BUTTON_GPIO_Port, &GPIO_InitStruct);

  /*Configure GPIO pins : EN_SENS_Pin BMOT2_Pin */
  GPIO_InitStruct.Pin = EN_SENS_Pin|BMOT2_Pin;
  GPIO_InitStruct.Mode = GPIO_MODE_OUTPUT_PP;
  GPIO_InitStruct.Pull = GPIO_NOPULL;
  GPIO_InitStruct.Speed = GPIO_SPEED_FREQ_LOW;
  HAL_GPIO_Init(GPIOB, &GPIO_InitStruct);

  /*Configure GPIO pin : STATUS_LED_RED_Pin */
  GPIO_InitStruct.Pin = STATUS_LED_RED_Pin;
  GPIO_InitStruct.Mode = GPIO_MODE_OUTPUT_PP;
  GPIO_InitStruct.Pull = GPIO_NOPULL;
  GPIO_InitStruct.Speed = GPIO_SPEED_FREQ_VERY_HIGH;
  HAL_GPIO_Init(STATUS_LED_RED_GPIO_Port, &GPIO_InitStruct);

  /*Configure GPIO pin : ACC_INT1_Pin */
  GPIO_InitStruct.Pin = ACC_INT1_Pin;
  GPIO_InitStruct.Mode = GPIO_MODE_INPUT;
  GPIO_InitStruct.Pull = GPIO_NOPULL;
  HAL_GPIO_Init(ACC_INT1_GPIO_Port, &GPIO_InitStruct);

  /*Configure GPIO pin : CS_RF_Pin */
  GPIO_InitStruct.Pin = CS_RF_Pin;
  GPIO_InitStruct.Mode = GPIO_MODE_OUTPUT_OD;
  GPIO_InitStruct.Pull = GPIO_NOPULL;
  GPIO_InitStruct.Speed = GPIO_SPEED_FREQ_LOW;
  HAL_GPIO_Init(CS_RF_GPIO_Port, &GPIO_InitStruct);

  /*Configure GPIO pin : AMOT2_Pin */
  GPIO_InitStruct.Pin = AMOT2_Pin;
  GPIO_InitStruct.Mode = GPIO_MODE_OUTPUT_PP;
  GPIO_InitStruct.Pull = GPIO_NOPULL;
  GPIO_InitStruct.Speed = GPIO_SPEED_FREQ_LOW;
  HAL_GPIO_Init(AMOT2_GPIO_Port, &GPIO_InitStruct);

}

/* USER CODE BEGIN 4 */

/*
 * 	Esta funcion gestiona la recepcion de datos recibido por el periferico UART
 * 	USART3 esta conectado al CH340 para la comunicacion por cable.
 * 	USART1 esta conectado al ESP12F.
 */
void HAL_UART_RxCpltCallback(UART_HandleTypeDef *huart){

	if (huart->Instance == USART3){
		interpretar_velocidad(MSG_Rx);
	}
	if (huart->Instance == USART1){

		HAL_GPIO_TogglePin(STATUS_LED_RED_GPIO_Port, STATUS_LED_RED_Pin);
		received_message_uart[counter_caracter]= received_caracter_uart;
		counter_caracter += 1;

		char *resultado = strstr(received_message_uart, "\n");

		if (resultado != NULL){
			counter_caracter = 0;
//			 muestra los datos que recibe del esp 12f
			sscanf(received_message_uart, "%s\n", MSG_Tx_1);
//			sprintf(MSG_Tx_1,"%s",(uint8_t*)received_message_uart);
			HAL_UART_Transmit_DMA(&huart3, (uint8_t*)received_message_uart,strlen(received_message_uart));

			interpretar_velocidad(received_message_uart);
			memset(received_message_uart, 0, sizeof(received_message_uart));

		}

		HAL_UART_Receive_IT(&huart1,&received_caracter_uart, 1);
	}
}
/*
 * codigo de prueba, activa una secuencia de velocidades en un tiempo
 * determinado para evaluar el controlador de velocidad PID.
 */
void secuencia(uint32_t time_counter){
	if (time_counter%40 == 0){
		if (step == 0) {
			setP_1 = 0;
			setP_2 = 0;
		} else if(step == 1){
			setP_1 = 20;
			setP_2 = 20;
		} else if(step == 2){
			setP_1 = 30;
			setP_2 = 30;
		} else if(step == 3){
			setP_1 = 50;
			setP_2 = 50;
		} else if(step == 4){
			setP_1 = 80;
			setP_2 = 80;
		} else if(step == 5){
			setP_1 = 40;
			setP_2 = 40;
		} else if(step == 6){
			setP_1 = 0;
			setP_2 = 0;
		}

		step++;

		if (step == 7) {
			step = 0;
		}
	}
}
/*
 * 	Esta funcion tiene la finalidad de interpretar la cadena de caracteres que recibe por
 * 	cualquier UART conectado.Esta valida y extrae el valor que acompaña cada termino para
 * 	el control de velocidad de las ruedas.
 */
void interpretar_velocidad(char* data_MSG) {
	if (sscanf(data_MSG, "%c%d%c%d%c%d", &letra_1, &numero_1, &letra_2, &numero_2, &letra_3, &numero_3) == 6 && strlen(data_MSG)==15){
//		HAL_GPIO_TogglePin(STATUS_LED_RED_GPIO_Port, STATUS_LED_RED_Pin);
		P_letra_1 = letra_1;
		P_numero_1 = (float) numero_1;

		P_letra_2 = letra_2;
		P_numero_2 = (float) numero_2;

		if ((letra_1 == 'q') && (letra_2 == 'e') && (letra_3 == 's') && ((numero_1 + numero_2) == (numero_3))){
			setP_1 = P_numero_1;
			setP_2 = P_numero_2;
		}
	}
}

/* USER CODE END 4 */

void Error_Handler(void)
{
  __disable_irq();
  while (1)
  {
  }
}
